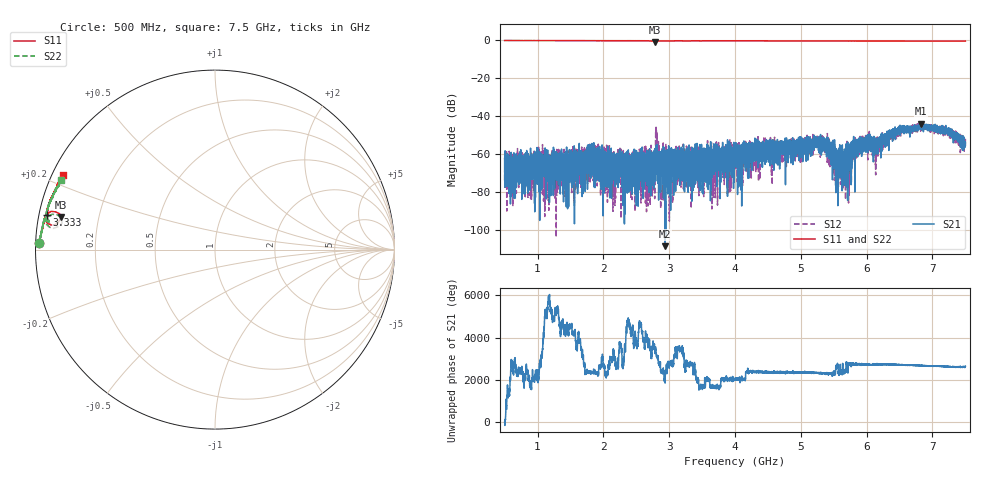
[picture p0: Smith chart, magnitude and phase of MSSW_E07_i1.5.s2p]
!Keysight Technologies,M9374A,MY55442783,A.12.55.05
!Date: Thursday, May 20, 2021 16:46:43
!Correction: S11(Full 2 Port(1,2))
!S21(Full 2 Port(1,2))
!S12(Full 2 Port(1,2))
!S22(Full 2 Port(1,2))
!S2P File: Measurements: S11, S21, S12, S22:
# Hz S  RI  R 50
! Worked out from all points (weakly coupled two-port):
!   7001 points, 500 MHz to 7.5 GHz, reference 50 ohm
!   highest |S21| = -43.97 dB at 6.824 GHz (marker M1); lowest = -108.5 dB at 2.94 GHz (marker M2)
!   lowest |S11| = -1.1 dB at 2.79 GHz (marker M3), VSWR 15.59, Z = 3.24 + j5.19 ohm
!   |S11| at or under -10 dB: nowhere
!   |S22| runs from -1.3 to -0.2 dB; largest |S21 - S12| = 0.0056
!   S11 on the Smith chart (normalised r, x): 500 MHz: 0.01, +0.02; 3.333 GHz: 0.02, +0.10; 7.5 GHz: 0.03, +0.23
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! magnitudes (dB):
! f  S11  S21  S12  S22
! 500 MHz  -0.2  -62.3  -73.8  -0.2
! 727 MHz  -0.2  -68.4  -63.2  -0.2
! 1.157 GHz  -0.2  -66.5  -74.2  -0.2
! 1.667 GHz  -0.3  -59.4  -68.5  -0.3
! 1.869 GHz  -0.3  -63.2  -55.3  -0.3
! 2.108 GHz  -0.3  -64.1  -61.7  -0.3
! 2.537 GHz  -0.3  -64.1  -78.5  -0.3
! 2.75 GHz  -0.5  -64.1  -63.9  -0.5
! 2.79 GHz  -1.1  -68.1  -60.6  -1.2
! 2.834 GHz  -0.5  -67.3  -61.2  -0.4
! 2.882 GHz  -0.4  -61.8  -61.2  -0.4
! 2.94 GHz  -0.4  -108.5  -62.3  -0.4
! 3.333 GHz  -0.4  -62.8  -57.9  -0.4
! 4 GHz  -0.3  -63.6  -59.9  -0.4
! 5.167 GHz  -0.4  -53.4  -53.3  -0.4
! 5.349 GHz  -0.4  -54.0  -52.5  -0.4
! 5.654 GHz  -0.4  -62.2  -62.9  -0.4
! 5.834 GHz  -0.5  -52.4  -57.1  -0.4
! 6.166 GHz  -0.5  -53.0  -53.7  -0.5
! 6.334 GHz  -0.5  -50.1  -49.4  -0.5
! 6.824 GHz  -0.5  -44.0  -46.3  -0.5
! 7.5 GHz  -0.5  -55.3  -54.6  -0.5
